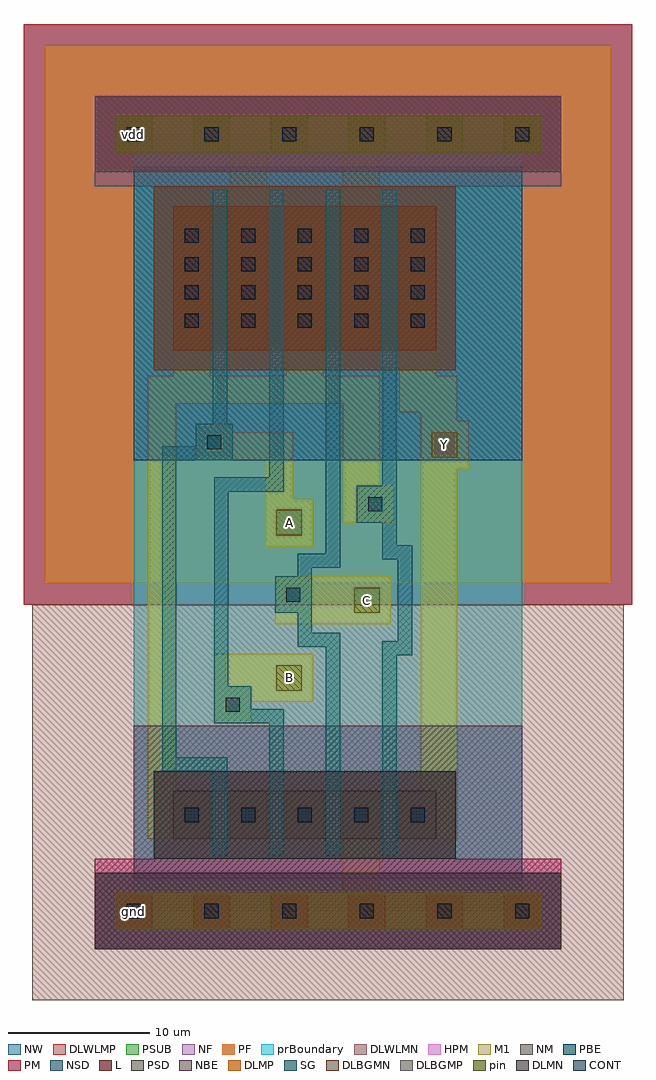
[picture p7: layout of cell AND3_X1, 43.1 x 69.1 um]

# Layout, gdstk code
import gdstk
lib = gdstk.Library(unit=1e-6, precision=1e-09)
def R(c, l, rs):  # rectangles x0, y0, x1, y1
    for r in rs: c.add(gdstk.rectangle(r[:2], r[2:], *l))
def A(c, l, x, y, w, h, nx, ny, dx, dy):  # array of equal rectangles
    R(c, l, [(x+i*dx, y+j*dy, x+i*dx+w, y+j*dy+h) for i in range(nx) for j in range(ny)])
def P(c, l, *ps):  # polygons
    for p in ps: c.add(gdstk.Polygon(p, *l))
L = (3, 0)
NM = (7, 0)
SG = (8, 0)
PSD = (9, 0)
CONT = (11, 0)
M1 = (13, 0)
NF = (25, 0)
PF = (26, 0)
NSD = (28, 0)
HPM = (33, 0)
PM = (35, 0)
NW = (36, 0)
pin = (48, 1)
PSUB = (140, 0)
PBE = (146, 0)
NBE = (147, 0)
DLWLMP = (150, 0)
DLWLMN = (151, 0)
DLMP = (157, 0)
DLMN = (158, 0)
DLBGMP = (177, 0)
DLBGMN = (178, 0)
prBoundary = (235, 0)

and3_x1 = lib.new_cell('AND3_X1')
A(and3_x1, L, -1.3, -1.3, 2.6, 2.6, 6, 2, 5.5, 55)
R(and3_x1, L, [(2.8,5.1,21.4,8.5), (2.8,39.7,21.4,49.9)])
R(and3_x1, NM, [(-2.75,-2.7,30.25,2.7)])
P(and3_x1, NM, [(1.4,38.3),(1.4,51.3),(-2.75,51.3),(-2.75,57.7),(30.25,57.7),(30.25,52.3),(30.25,51.3),(22.8,51.3),(22.8,38.3)])
P(and3_x1, SG, [(5.6,3.9),(5.6,9.9),(2,9.9),(2,32.9),(4.4,32.9),(4.4,34.5),(5.6,34.5),(5.6,51.1),(6.6,51.1),(6.6,34.5),(7,34.5),(7,31.9),(3,31.9),(3,10.9),(6.6,10.9),(6.6,3.9)],
  [(9.6,3.9),(9.6,13.3),(5.7,13.3),(5.7,30.7),(9.6,30.7),(9.6,51.1),(10.6,51.1),(10.6,29.7),(6.7,29.7),(6.7,15.9),(8.3,15.9),(8.3,14.3),(10.6,14.3),(10.6,3.9)],
  [(13.6,3.9),(13.6,18.7),(11.6,18.7),(11.6,21.1),(10,21.1),(10,23.7),(11.6,23.7),(11.6,25.3),(13.6,25.3),(13.6,51.1),(14.6,51.1),(14.6,24.3),(12.6,24.3),(12.6,19.7),(14.6,19.7),(14.6,3.9)],
  [(17.6,3.9),(17.6,19.1),(18.7,19.1),(18.7,24.9),(17.6,24.9),(17.6,27.5),(15.8,27.5),(15.8,30.1),(17.6,30.1),(17.6,51.1),(18.6,51.1),(18.6,25.9),(19.7,25.9),(19.7,18.1),(18.6,18.1),(18.6,3.9)])
R(and3_x1, PSD, [(1.4,3.7,22.8,9.9), (-2.75,52.3,30.25,57.7)])
A(and3_x1, CONT, -0.5, -0.5, 1, 1, 6, 2, 5.5, 55)
A(and3_x1, CONT, 3.6, 41.3, 1, 1, 1, 4, 0, 2)
A(and3_x1, CONT, 19.6, 41.3, 1, 1, 1, 4, 0, 2)
R(and3_x1, CONT, [(3.6,6.3,4.6,7.3), (7.6,6.3,8.6,7.3), (7.6,6.3,8.6,7.3), (11.6,6.3,12.6,7.3), (11.6,6.3,12.6,7.3), (15.6,6.3,16.6,7.3), (15.6,6.3,16.6,7.3), (19.6,6.3,20.6,7.3), (6.5,14.1,7.5,15.1), (10.8,21.9,11.8,22.9), (16.6,28.3,17.6,29.3), (5.2,32.7,6.2,33.7), (7.6,41.3,8.6,42.3), (7.6,41.3,8.6,42.3), (11.6,41.3,12.6,42.3), (11.6,41.3,12.6,42.3), (15.6,41.3,16.6,42.3), (15.6,41.3,16.6,42.3), (7.6,43.3,8.6,44.3), (7.6,43.3,8.6,44.3), (11.6,43.3,12.6,44.3), (11.6,43.3,12.6,44.3), (15.6,43.3,16.6,44.3), (15.6,43.3,16.6,44.3), (7.6,45.3,8.6,46.3), (7.6,45.3,8.6,46.3), (11.6,45.3,12.6,46.3), (11.6,45.3,12.6,46.3), (15.6,45.3,16.6,46.3), (15.6,45.3,16.6,46.3), (7.6,47.3,8.6,48.3), (7.6,47.3,8.6,48.3), (11.6,47.3,12.6,48.3), (11.6,47.3,12.6,48.3), (15.6,47.3,16.6,48.3), (15.6,47.3,16.6,48.3)])
R(and3_x1, M1, [(6.8,5.1,9.4,8.5), (10.8,5.1,13.4,8.5), (10,20.3,18.2,23.7)])
P(and3_x1, M1, [(-1.3,-1.3),(-1.3,1.3),(14.8,1.3),(14.8,8.5),(17.4,8.5),(17.4,1.3),(28.8,1.3),(28.8,-1.3)],
  [(5.7,13.3),(5.7,18.2),(12.7,18.2),(12.7,14.8),(8.3,14.8),(8.3,13.3)],
  [(9.3,25.8),(9.3,31.9),(4.4,31.9),(4.4,34.5),(7,34.5),(7,33.9),(11.3,33.9),(11.3,29.2),(12.7,29.2),(12.7,25.8)],
  [(1,5.1),(1,37.9),(2.8,37.9),(2.8,49.9),(5.4,49.9),(5.4,37.9),(10.8,37.9),(10.8,49.9),(13.4,49.9),(13.4,37.9),(17.4,37.9),(17.4,30.1),(18.4,30.1),(18.4,27.5),(14.8,27.5),(14.8,35.9),(3,35.9),(3,8.5),(5.4,8.5),(5.4,5.1)],
  [(18.8,5.1),(18.8,8.5),(20.3,8.5),(20.3,35.3),(18.8,35.3),(18.8,49.9),(21.4,49.9),(21.4,37.9),(22.9,37.9),(22.9,34.7),(23.7,34.7),(23.7,31.3),(22.9,31.3),(22.9,5.1)],
  [(6.8,39.7),(6.8,53.7),(-1.3,53.7),(-1.3,56.3),(28.8,56.3),(28.8,53.7),(17.4,53.7),(17.4,39.7),(14.8,39.7),(14.8,53.7),(9.4,53.7),(9.4,39.7)])
R(and3_x1, NF, [(-6.3,23.2,33.8,61.3)])
R(and3_x1, PF, [(-6.3,23.2,33.8,61.3)])
R(and3_x1, NSD, [(-2.75,-2.7,30.25,2.7), (1.4,38.3,22.8,51.3)])
P(and3_x1, HPM, [(1.4,38.3),(1.4,51.3),(-2.75,51.3),(-2.75,57.7),(30.25,57.7),(30.25,52.3),(30.25,51.3),(22.8,51.3),(22.8,38.3)],
  [(-2.75,-2.7),(-2.75,3.7),(1.4,3.7),(1.4,9.9),(22.8,9.9),(22.8,3.7),(30.25,3.7),(30.25,-2.7)])
R(and3_x1, PM, [(-2.75,52.3,30.25,57.7)])
P(and3_x1, PM, [(-2.75,-2.7),(-2.75,3.7),(1.4,3.7),(1.4,9.9),(22.8,9.9),(22.8,3.7),(30.25,3.7),(30.25,-2.7)])
R(and3_x1, NW, [(-7.8,21.7,35.3,62.8)])
R(and3_x1, pin, [(-1.3,-1.3,28.8,1.3), (10.1,15.6,11.9,17.4), (15.6,21.1,17.4,22.9), (10.1,26.6,11.9,28.4), (21.1,32.1,22.9,33.9), (-1.3,53.7,28.8,56.3)])
R(and3_x1, PSUB, [(-6.3,23.2,33.8,61.3)])
R(and3_x1, PBE, [(0,31.9,27.5,52.7)])
R(and3_x1, NBE, [(0,2.3,27.5,13.1)])
R(and3_x1, DLWLMP, [(-7.8,21.7,35.3,62.8)])
R(and3_x1, DLWLMN, [(-7.2,-6.3,34.7,21.7)])
R(and3_x1, DLMP, [(1.4,38.3,22.8,51.3)])
R(and3_x1, DLMN, [(1.4,3.7,22.8,9.9)])
R(and3_x1, DLBGMP, [(-2.75,52.3,30.25,57.7)])
R(and3_x1, DLBGMN, [(-2.75,-2.7,30.25,2.7)])
R(and3_x1, prBoundary, [(0,0,27.5,55)])
and3_x1.add(gdstk.Label('vdd', (0,55), layer=48, texttype=0))
and3_x1.add(gdstk.Label('gnd', (0,0), layer=48, texttype=0))
and3_x1.add(gdstk.Label('Y', (22,33), layer=48, texttype=0))
and3_x1.add(gdstk.Label('A', (11,27.5), layer=48, texttype=0))
and3_x1.add(gdstk.Label('C', (16.5,22), layer=48, texttype=0))
and3_x1.add(gdstk.Label('B', (11,16.5), layer=48, texttype=0))

lib.write_gds('AND3_X1.gds')
